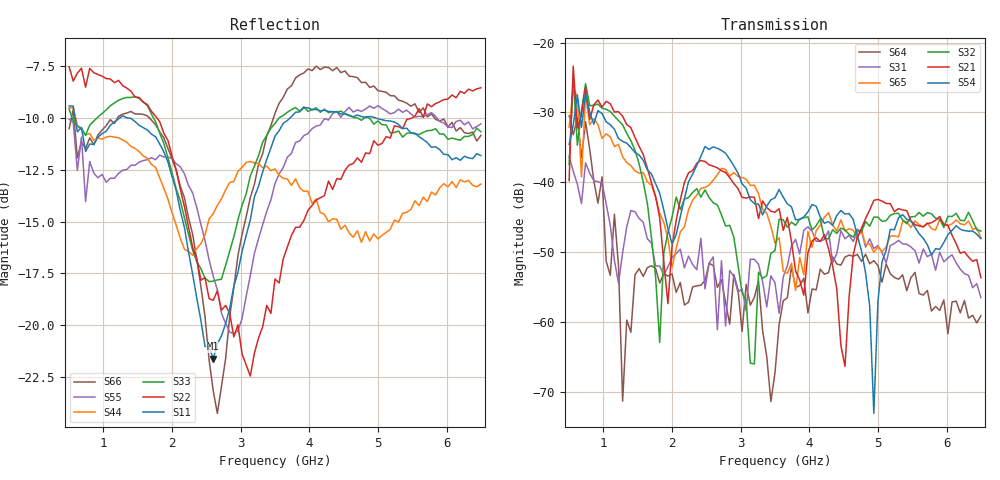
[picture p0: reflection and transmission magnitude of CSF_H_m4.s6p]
!Keysight Technologies,M9804A,MY58100912,A.14.10.03
!Date: Thursday, April 27, 2023 10:28:33
!Correction: S11(C  6-Port  )
!S12(C  6-Port  )
!S13(C  6-Port  )
!S14(C  6-Port  )
!S15(C  6-Port  )
!S16(C  6-Port  )
!S21(C  6-Port  )
!S22(C  6-Port  )
!S23(C  6-Port  )
!S24(C  6-Port  )
!S25(C  6-Port  )
!S26(C  6-Port  )
!S31(C  6-Port  )
!S32(C  6-Port  )
!S33(C  6-Port  )
!S34(C  6-Port  )
!S35(C  6-Port  )
!S36(C  6-Port  )
!S41(C  6-Port  )
!S42(C  6-Port  )
!S43(C  6-Port  )
!S44(C  6-Port  )
!S45(C  6-Port  )
!S46(C  6-Port  )
!S51(C  6-Port  )
!S52(C  6-Port  )
!S53(C  6-Port  )
!S54(C  6-Port  )
!S55(C  6-Port  )
!S56(C  6-Port  )
!S61(C  6-Port  )
!S62(C  6-Port  )
!S63(C  6-Port  )
!S64(C  6-Port  )
!S65(C  6-Port  )
!S66(C  6-Port  )
!S6P File: Measurement: :
# Hz S  RI  R 50
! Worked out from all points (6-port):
!   101 points, 500 MHz to 6.5 GHz, reference 50 ohm
!   strongest paths, dB at 500 MHz, 2 GHz, 3.5 GHz, 5 GHz, 6.5 GHz:
!     S54: -34.6, -48.8, -42.2, -57.0, -48.1
!     S21: -39.8, -49.2, -44.3, -42.4, -53.6
!     S32: -37.4, -45.0, -49.8, -45.0, -47.0
!     S65: -32.1, -52.2, -48.7, -49.2, -47.9
!     S31: -36.3, -50.8, -54.4, -49.0, -56.5
!     S64: -30.5, -53.1, -67.2, -51.9, -59.1
!   lowest |S11| = -21.6 dB at 2.6 GHz (marker M1), VSWR 1.18, Z = 42.6 + j2.03 ohm
!   |S11| at or under -10 dB: 588 MHz to 1.235 GHz (646.6 MHz wide, 71 % of centre); 1.376 GHz to 3.717 GHz (2.341 GHz wide, 91.9 % of centre); 4.974 GHz to end of sweep
